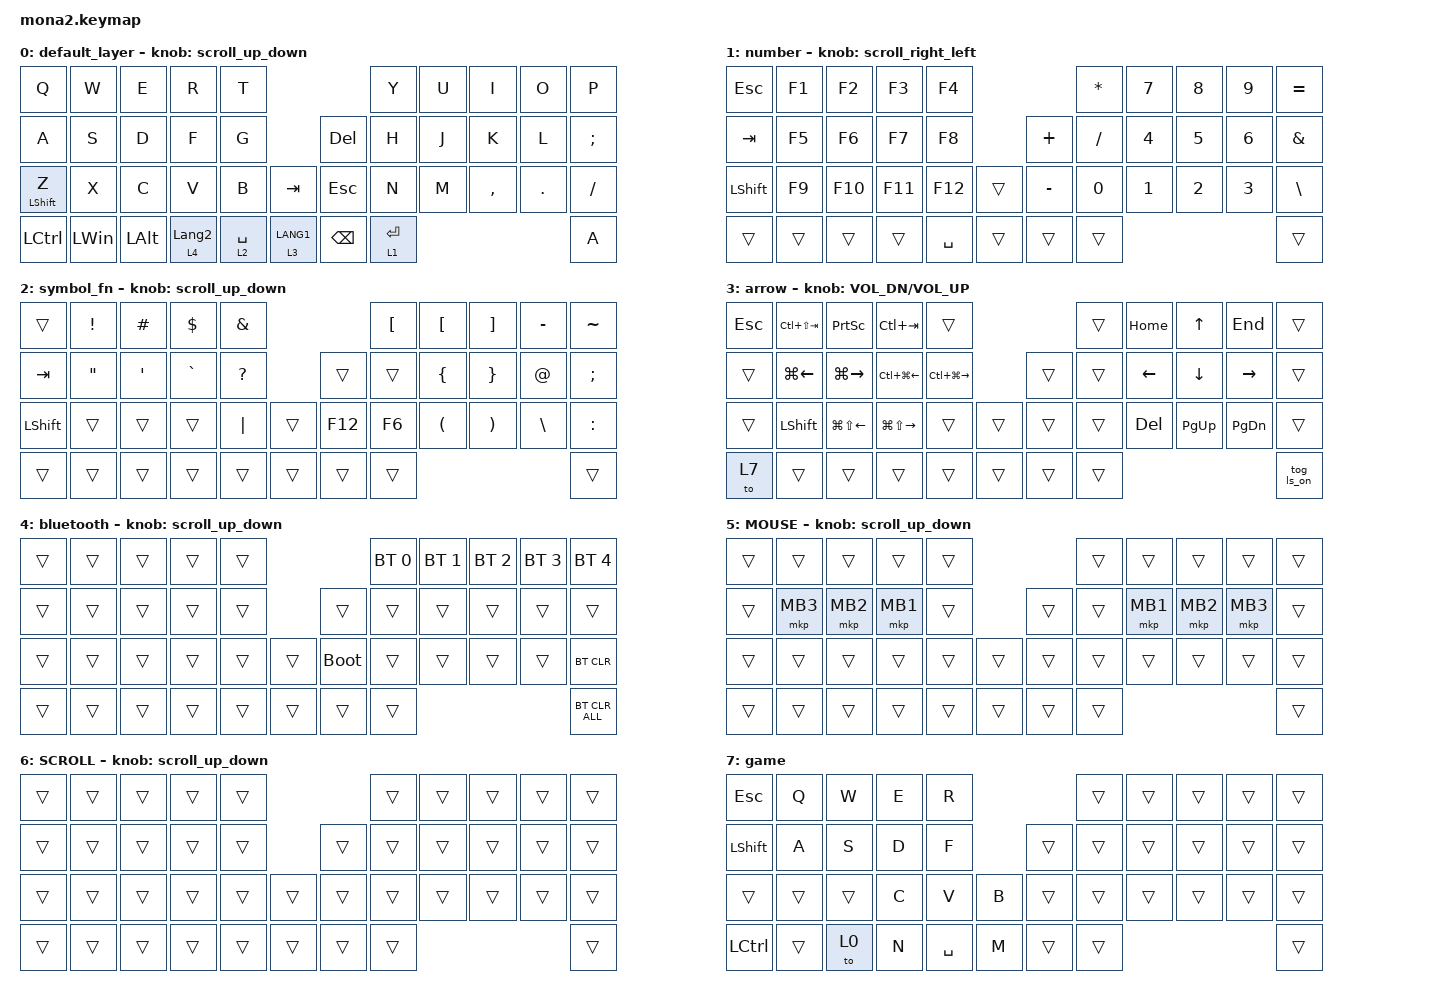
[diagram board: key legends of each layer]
#include <input/processors.dtsi>
#include <dt-bindings/zmk/input_transform.h>
#include <zephyr/dt-bindings/input/input-event-codes.h>
#include <layout_shift_kp_override.dtsi>
#include <behaviors.dtsi>
#include <dt-bindings/zmk/bt.h>
#include <dt-bindings/zmk/keys.h>
#include <dt-bindings/zmk/pointing.h>

#define ZMK_POINTING_DEFAULT_SCRL_VAL 100
#define MOUSE 5
#define SCROLL 6

&mt {
    flavor = "balanced";
    quick-tap-ms = <0>;
};

&lt {
    quick-tap-ms = <300>;
    flavor = "balanced";
};

/ {
    combos {
        compatible = "zmk,combos";

        layer4_ESC {
            bindings = <&lt 4 ESC>;
            key-positions = <39 38>;
        };

        tab {
            bindings = <&kp TAB>;
            key-positions = <11 12>;
        };
    };

    macros {
        to_layer_0: to_layer_0 {
            compatible = "zmk,behavior-macro-one-param";
            #binding-cells = <1>;
            bindings = <&to 0 &macro_param_1to1 &kp MACRO_PLACEHOLDER>;
            label = "TO_LAYER_0";
        };
    };

    behaviors {
        lt_to_layer_0: lt_to_layer_0 {
            compatible = "zmk,behavior-hold-tap";
            label = "LAYER_TAP_TO_0";
            bindings = <&mo>, <&to_layer_0>;

            #binding-cells = <2>;
            tapping-term-ms = <200>;
        };

        scroll_up_down: mouse_wheel_up_down {
            compatible = "zmk,behavior-sensor-rotate";
            #sensor-binding-cells = <0>;
            bindings = <&msc SCRL_DOWN>, <&msc SCRL_UP>;

            tap-ms = <20>;
        };

        scroll_right_left: mouse_wheel_right_left {
            compatible = "zmk,behavior-sensor-rotate";
            #sensor-binding-cells = <0>;
            bindings = <&msc SCRL_LEFT>, <&msc SCRL_RIGHT>;

            tap-ms = <20>;
        };

        // Keep the original key_press behavior for ZMK core components
        // Override the existing &kp behavior to use our custom implementation
    };

    keymap {
        compatible = "zmk,keymap";

        default_layer {
            bindings = <
&kp Q             &kp W         &kp E         &kp R                        &kp T                                                 &kp Y        &kp U  &kp I      &kp O    &kp P
&kp A             &kp S         &kp D         &kp F                        &kp G                                  &kp DELETE     &kp H        &kp J  &kp K      &kp L    &kp SEMICOLON
&mt LEFT_SHIFT Z  &kp X         &kp C         &kp V                        &kp B        &kp TAB                   &kp ESC        &kp N        &kp M  &kp COMMA  &kp DOT  &kp SLASH
&kp LCTRL         &kp LEFT_WIN  &kp LEFT_ALT  &lt_to_layer_0 4 LANGUAGE_2  &lt 2 SPACE  &lt_to_layer_0 3 LANG1    &kp BACKSPACE  &lt 1 ENTER                             &kp A
            >;

            sensor-bindings = <&scroll_up_down>;
        };

        number {
            bindings = <
&kp ESCAPE  &kp F1  &kp F2   &kp F3   &kp F4                          &kp ASTRK     &kp NUMBER_7  &kp NUMBER_8  &kp NUMBER_9  &kp EQUAL
&kp TAB     &kp F5  &kp F6   &kp F7   &kp F8               &kp PLUS   &kp SLASH     &kp NUMBER_4  &kp NUMBER_5  &kp NUMBER_6  &kp AMPERSAND
&kp LSHFT   &kp F9  &kp F10  &kp F11  &kp F12    &trans    &kp MINUS  &kp NUMBER_0  &kp NUMBER_1  &kp NUMBER_2  &kp NUMBER_3  &kp BACKSLASH
&trans      &trans  &trans   &trans   &kp SPACE  &trans    &trans     &trans                                                  &trans
            >;

            sensor-bindings = <&scroll_right_left>;
        };

        symbol_fn {
            bindings = <
&trans          &kp EXCL  &kp POUND  &kp DOLLAR  &kp AMPS                         &kp LEFT_BRACKET  &kp LEFT_BRACKET      &kp RIGHT_BRACKET      &kp MINUS      &kp TILDE
&kp TAB         &kp DQT   &kp SQT    &kp GRAVE   &kp QUESTION            &trans   &trans            &kp LEFT_BRACE        &kp RIGHT_BRACE        &kp AT_SIGN    &kp SEMI
&kp LEFT_SHIFT  &trans    &trans     &trans      &kp PIPE      &trans    &kp F12  &kp F6            &kp LEFT_PARENTHESIS  &kp RIGHT_PARENTHESIS  &kp BACKSLASH  &kp COLON
&trans          &trans    &trans     &trans      &trans        &trans    &trans   &trans                                                                        &trans
            >;

            sensor-bindings = <&scroll_up_down>;
        };

        arrow {
            bindings = <
&kp ESCAPE  &kp LC(LS(TAB))     &kp PRINTSCREEN         &kp LC(TAB)              &trans                                     &trans  &kp HOME        &kp UP_ARROW    &kp END          &trans
&trans      &kp LG(LEFT_ARROW)  &kp LG(RIGHT_ARROW)     &kp LC(LG(LEFT_ARROW))   &kp LC(LG(RIGHT_ARROW))            &trans  &trans  &kp LEFT_ARROW  &kp DOWN_ARROW  &kp RIGHT_ARROW  &trans
&trans      &kp LEFT_SHIFT      &kp LG(LS(LEFT_ARROW))  &kp LG(LS(RIGHT_ARROW))  &trans                   &trans    &trans  &trans  &kp DELETE      &kp PAGE_UP     &kp PAGE_DOWN    &trans
&to 7       &trans              &trans                  &trans                   &trans                   &trans    &trans  &trans                                                   &tog_ls_on
            >;

            sensor-bindings = <&inc_dec_kp C_VOL_DN C_VOL_UP>;
        };

        bluetooth {
            bindings = <
&trans  &trans  &trans  &trans  &trans                         &bt BT_SEL 0  &bt BT_SEL 1  &bt BT_SEL 2  &bt BT_SEL 3  &bt BT_SEL 4
&trans  &trans  &trans  &trans  &trans            &trans       &trans        &trans        &trans        &trans        &trans
&trans  &trans  &trans  &trans  &trans  &trans    &bootloader  &trans        &trans        &trans        &trans        &bt BT_CLR
&trans  &trans  &trans  &trans  &trans  &trans    &trans       &trans                                                  &bt BT_CLR_ALL
            >;

            sensor-bindings = <&scroll_up_down>;
        };

        MOUSE {
            bindings = <
&trans  &trans    &trans    &trans    &trans                    &trans  &trans    &trans    &trans    &trans
&trans  &mkp MB3  &mkp MB2  &mkp MB1  &trans            &trans  &trans  &mkp MB1  &mkp MB2  &mkp MB3  &trans
&trans  &trans    &trans    &trans    &trans  &trans    &trans  &trans  &trans    &trans    &trans    &trans
&trans  &trans    &trans    &trans    &trans  &trans    &trans  &trans                                &trans
            >;

            sensor-bindings = <&scroll_up_down>;
        };

        SCROLL {
            bindings = <
&trans  &trans  &trans  &trans  &trans                    &trans  &trans  &trans  &trans  &trans
&trans  &trans  &trans  &trans  &trans            &trans  &trans  &trans  &trans  &trans  &trans
&trans  &trans  &trans  &trans  &trans  &trans    &trans  &trans  &trans  &trans  &trans  &trans
&trans  &trans  &trans  &trans  &trans  &trans    &trans  &trans                          &trans
            >;

            sensor-bindings = <&scroll_up_down>;
        };

        game {
            bindings = <
&kp ESCAPE  &kp Q   &kp W   &kp E  &kp R                       &trans  &trans  &trans  &trans  &trans
&kp LSHFT   &kp A   &kp S   &kp D  &kp F               &trans  &trans  &trans  &trans  &trans  &trans
&trans      &trans  &trans  &kp C  &kp V      &kp B    &trans  &trans  &trans  &trans  &trans  &trans
&kp LCTRL   &trans  &to 0   &kp N  &kp SPACE  &kp M    &trans  &trans                          &trans
            >;
        };
    };
};
